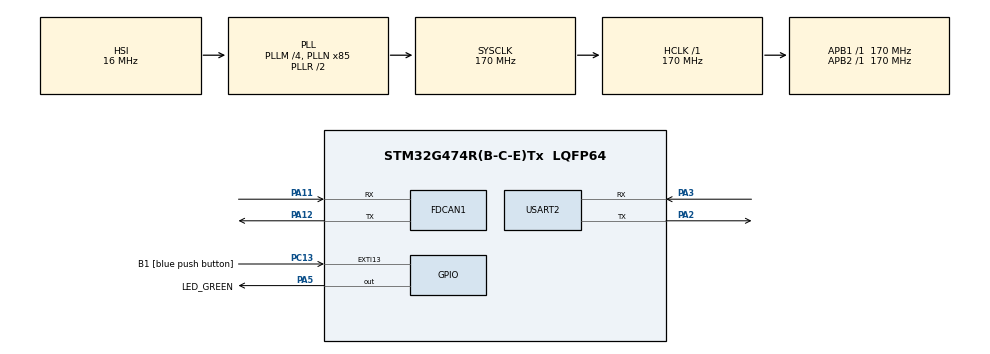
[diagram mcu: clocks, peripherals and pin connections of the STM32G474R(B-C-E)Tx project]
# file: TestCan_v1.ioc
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FDCAN1.CalculateBaudRateNominal=100117
FDCAN1.CalculateTimeBitNominal=9988
FDCAN1.CalculateTimeQuantumNominal=3329.4117647058824
FDCAN1.ClockDivider=FDCAN_CLOCK_DIV2
FDCAN1.Mode=FDCAN_MODE_EXTERNAL_LOOPBACK
FDCAN1.NominalPrescaler=283
FREERTOS.BinarySemaphores01=semCan,Dynamic,NULL,Available
FREERTOS.Mutexes01=mutexCan,Dynamic,NULL,Available
FREERTOS.Queues01=queueCan,16,CanMsg,0,Dynamic,NULL,NULL
FREERTOS.Tasks01=task0,24,256,startTask0,Default,NULL,Dynamic,NULL,NULL;task1,24,256,startTask1,Default,NULL,Dynamic,NULL,NULL
FREERTOS.configTOTAL_HEAP_SIZE=10048
Mcu.Family=STM32G4
Mcu.Name=STM32G474R(B-C-E)Tx
Mcu.Package=LQFP64
NVIC.EXTI15_10_IRQn=true\:7\:0\:true\:false\:true\:true\:true\:true\:true
NVIC.FDCAN1_IT0_IRQn=true\:5\:0\:false\:false\:true\:true\:true\:true\:true
NVIC.FDCAN1_IT1_IRQn=true\:6\:0\:true\:false\:true\:true\:true\:true\:true
NVIC.PriorityGroup=NVIC_PRIORITYGROUP_4
NVIC.TIM6_DAC_IRQn=true\:15\:0\:false\:false\:true\:false\:false\:true\:true
NVIC.TimeBase=TIM6_DAC_IRQn
NVIC.TimeBaseIP=TIM6
NVIC.USART2_IRQn=true\:6\:0\:true\:false\:true\:true\:true\:true\:true
PA11.Mode=FDCAN_Activate
PA11.Signal=FDCAN1_RX
PA12.Mode=FDCAN_Activate
PA12.Signal=FDCAN1_TX
PA13.GPIO_Label=T_SWDIO
PA13.Mode=Trace_Asynchronous_SW
PA13.Signal=SYS_JTMS-SWDIO
PA14.GPIO_Label=T_SWCLK
PA14.Mode=Trace_Asynchronous_SW
PA14.Signal=SYS_JTCK-SWCLK
PA2.Mode=Asynchronous
PA2.Signal=USART2_TX
PA3.Mode=Asynchronous
PA3.Signal=USART2_RX
PA5.GPIO_Label=LED_GREEN
PA5.Signal=GPIO_Output
PB3.GPIO_Label=T_SWO
PB3.Mode=Trace_Asynchronous_SW
PB3.Signal=SYS_JTDO-SWO
PC13.GPIO_Label=B1 [blue push button]
PC13.Signal=GPXTI13
PC14-OSC32_IN.GPIO_Label=RCC_OSC32_IN
PC14-OSC32_IN.Signal=RCC_OSC32_IN
PC15-OSC32_OUT.GPIO_Label=RCC_OSC32_OUT
PC15-OSC32_OUT.Signal=RCC_OSC32_OUT
PF0-OSC_IN.GPIO_Label=RCC_OSC_IN
PF0-OSC_IN.Signal=RCC_OSC_IN
PF1-OSC_OUT.GPIO_Label=RCC_OSC_OUT
PF1-OSC_OUT.Signal=RCC_OSC_OUT
ProjectManager.HeapSize=0x200
ProjectManager.StackSize=0x400
ProjectManager.TargetToolchain=STM32CubeIDE
RCC.ADC12Freq_Value=170000000
RCC.ADC345Freq_Value=170000000
RCC.AHBFreq_Value=170000000
RCC.APB1Freq_Value=170000000
RCC.APB1TimFreq_Value=170000000
RCC.APB2Freq_Value=170000000
RCC.APB2TimFreq_Value=170000000
RCC.CortexFreq_Value=170000000
RCC.EXTERNAL_CLOCK_VALUE=12288000
RCC.HCLKFreq_Value=170000000
RCC.HSE_VALUE=24000000
RCC.HSI48_VALUE=48000000
RCC.HSI_VALUE=16000000
RCC.LSE_VALUE=32768
RCC.PLLM=RCC_PLLM_DIV4
RCC.PLLN=85
RCC.RTCClockSelection=RCC_RTCCLKSOURCE_LSE
RCC.SYSCLKFreq_VALUE=170000000
RCC.SYSCLKSource=RCC_SYSCLKSOURCE_PLLCLK
RCC.USBFreq_Value=170000000
RCC.VCOOutputFreq_Value=340000000
USART2.VirtualMode-Asynchronous=VM_ASYNC
VP_FREERTOS_VS_CMSIS_V2.Mode=CMSIS_V2
VP_SYS_VS_DBSignals.Mode=DisableDeadBatterySignals
VP_SYS_VS_tim6.Mode=TIM6
board=NUCLEO-G474RE

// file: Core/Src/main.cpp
/* USER CODE BEGIN Header */
/**
 ******************************************************************************
 * @file           : main.c
 * @brief          : Main program body
 ******************************************************************************
 * @attention
 *
 * Copyright (c) 2025 STMicroelectronics.
 * All rights reserved.
 *
 * This software is licensed under terms that can be found in the LICENSE file
 * in the root directory of this software component.
 * If no LICENSE file comes with this software, it is provided AS-IS.
 *
 ******************************************************************************
 */
/* USER CODE END Header */
#include "main.h"
#include "cmsis_os.h"

/* USER CODE BEGIN Includes */

#include <stdio.h>

/* USER CODE END Includes */

FDCAN_HandleTypeDef hfdcan1;

UART_HandleTypeDef huart2;

/* Definitions for task0 */
osThreadId_t task0Handle;
const osThreadAttr_t task0_attributes =
{ .name = "task0", .stack_size = 256 * 4, .priority =
		(osPriority_t) osPriorityNormal };
/* Definitions for task1 */
osThreadId_t task1Handle;
const osThreadAttr_t task1_attributes =
{ .name = "task1", .stack_size = 256 * 4, .priority =
		(osPriority_t) osPriorityNormal };
/* Definitions for queueCan */
osMessageQueueId_t queueCanHandle;
const osMessageQueueAttr_t queueCan_attributes =
{ .name = "queueCan" };
/* Definitions for mutexCan */
osMutexId_t mutexCanHandle;
const osMutexAttr_t mutexCan_attributes =
{ .name = "mutexCan" };
/* Definitions for semCan */
osSemaphoreId_t semCanHandle;
const osSemaphoreAttr_t semCan_attributes =
{ .name = "semCan" };

void SystemClock_Config(void);
static void MX_GPIO_Init(void);
static void MX_FDCAN1_Init(void);
static void MX_USART2_UART_Init(void);
void startTask0(void *argument);
void startTask1(void *argument);

/* USER CODE BEGIN 0 */

extern "C" int _write(int file, char *data, int len)
{
	HAL_UART_Transmit(&huart2, (uint8_t*) data, len, 100);
	return len;
}

struct CanMsg
{
	FDCAN_RxHeaderTypeDef rxHeader;
	FDCAN_TxHeaderTypeDef txHeader;
	uint8_t data[8];
};

/* USER CODE END 0 */

int main(void)
{

	/* MCU Configuration--------------------------------------------------------*/

	/* Reset of all peripherals, Initializes the Flash interface and the Systick. */
	HAL_Init();

	/* Configure the system clock */
	SystemClock_Config();

	/* Initialize all configured peripherals */
	MX_GPIO_Init();
	MX_FDCAN1_Init();
	MX_USART2_UART_Init();
	/* USER CODE BEGIN 2 */

	if (HAL_FDCAN_Start(&hfdcan1) != HAL_OK)
	{
		printf("error\r\n");
	}

	if (HAL_FDCAN_ActivateNotification(&hfdcan1,
	FDCAN_IT_TX_COMPLETE | FDCAN_IT_RX_FIFO0_NEW_MESSAGE,
	FDCAN_TX_BUFFER0 | FDCAN_TX_BUFFER1 | FDCAN_TX_BUFFER2) != HAL_OK)
	{
		printf("error\r\n");
	}

	/* USER CODE END 2 */

	/* Init scheduler */
	osKernelInitialize();
	/* Create the mutex(es) */
	/* creation of mutexCan */
	mutexCanHandle = osMutexNew(&mutexCan_attributes);

	/* Create the semaphores(s) */
	/* creation of semCan */
	semCanHandle = osSemaphoreNew(1, 1, &semCan_attributes);

	/* Create the queue(s) */
	/* creation of queueCan */
	queueCanHandle = osMessageQueueNew(16, sizeof(CanMsg),
			&queueCan_attributes);

	/* Create the thread(s) */
	/* creation of task0 */
	task0Handle = osThreadNew(startTask0, NULL, &task0_attributes);

	/* creation of task1 */
	task1Handle = osThreadNew(startTask1, NULL, &task1_attributes);

	/* Start scheduler */
	osKernelStart();

	/* We should never get here as control is now taken by the scheduler */

	/* Infinite loop */
	while (1)
	{

	}
}

void SystemClock_Config(void)
{
	RCC_OscInitTypeDef RCC_OscInitStruct =
	{ 0 };
	RCC_ClkInitTypeDef RCC_ClkInitStruct =
	{ 0 };

	/** Configure the main internal regulator output voltage
	 */
	HAL_PWREx_ControlVoltageScaling(PWR_REGULATOR_VOLTAGE_SCALE1_BOOST);

	/** Initializes the RCC Oscillators according to the specified parameters
	 * in the RCC_OscInitTypeDef structure.
	 */
	RCC_OscInitStruct.OscillatorType = RCC_OSCILLATORTYPE_HSI;
	RCC_OscInitStruct.HSIState = RCC_HSI_ON;
	RCC_OscInitStruct.HSICalibrationValue = RCC_HSICALIBRATION_DEFAULT;
	RCC_OscInitStruct.PLL.PLLState = RCC_PLL_ON;
	RCC_OscInitStruct.PLL.PLLSource = RCC_PLLSOURCE_HSI;
	RCC_OscInitStruct.PLL.PLLM = RCC_PLLM_DIV4;
	RCC_OscInitStruct.PLL.PLLN = 85;
	RCC_OscInitStruct.PLL.PLLP = RCC_PLLP_DIV2;
	RCC_OscInitStruct.PLL.PLLQ = RCC_PLLQ_DIV2;
	RCC_OscInitStruct.PLL.PLLR = RCC_PLLR_DIV2;
	if (HAL_RCC_OscConfig(&RCC_OscInitStruct) != HAL_OK)
	{
		Error_Handler();
	}

	/** Initializes the CPU, AHB and APB buses clocks
	 */
	RCC_ClkInitStruct.ClockType = RCC_CLOCKTYPE_HCLK | RCC_CLOCKTYPE_SYSCLK
			| RCC_CLOCKTYPE_PCLK1 | RCC_CLOCKTYPE_PCLK2;
	RCC_ClkInitStruct.SYSCLKSource = RCC_SYSCLKSOURCE_PLLCLK;
	RCC_ClkInitStruct.AHBCLKDivider = RCC_SYSCLK_DIV1;
	RCC_ClkInitStruct.APB1CLKDivider = RCC_HCLK_DIV1;
	RCC_ClkInitStruct.APB2CLKDivider = RCC_HCLK_DIV1;

	if (HAL_RCC_ClockConfig(&RCC_ClkInitStruct, FLASH_LATENCY_4) != HAL_OK)
	{
		Error_Handler();
	}
}

static void MX_FDCAN1_Init(void)
{

	hfdcan1.Instance = FDCAN1;
	hfdcan1.Init.ClockDivider = FDCAN_CLOCK_DIV2;
	hfdcan1.Init.FrameFormat = FDCAN_FRAME_CLASSIC;
	hfdcan1.Init.Mode = FDCAN_MODE_EXTERNAL_LOOPBACK;
	hfdcan1.Init.AutoRetransmission = DISABLE;
	hfdcan1.Init.TransmitPause = DISABLE;
	hfdcan1.Init.ProtocolException = DISABLE;
	hfdcan1.Init.NominalPrescaler = 283;
	hfdcan1.Init.NominalSyncJumpWidth = 1;
	hfdcan1.Init.NominalTimeSeg1 = 1;
	hfdcan1.Init.NominalTimeSeg2 = 1;
	hfdcan1.Init.DataPrescaler = 1;
	hfdcan1.Init.DataSyncJumpWidth = 1;
	hfdcan1.Init.DataTimeSeg1 = 1;
	hfdcan1.Init.DataTimeSeg2 = 1;
	hfdcan1.Init.StdFiltersNbr = 0;
	hfdcan1.Init.ExtFiltersNbr = 0;
	hfdcan1.Init.TxFifoQueueMode = FDCAN_TX_FIFO_OPERATION;
	if (HAL_FDCAN_Init(&hfdcan1) != HAL_OK)
	{
		Error_Handler();
	}

}

static void MX_USART2_UART_Init(void)
{

	huart2.Instance = USART2;
	huart2.Init.BaudRate = 115200;
	huart2.Init.WordLength = UART_WORDLENGTH_8B;
	huart2.Init.StopBits = UART_STOPBITS_1;
	huart2.Init.Parity = UART_PARITY_NONE;
	huart2.Init.Mode = UART_MODE_TX_RX;
	huart2.Init.HwFlowCtl = UART_HWCONTROL_NONE;
	huart2.Init.OverSampling = UART_OVERSAMPLING_16;
	huart2.Init.OneBitSampling = UART_ONE_BIT_SAMPLE_DISABLE;
	huart2.Init.ClockPrescaler = UART_PRESCALER_DIV1;
	huart2.AdvancedInit.AdvFeatureInit = UART_ADVFEATURE_NO_INIT;
	if (HAL_UART_Init(&huart2) != HAL_OK)
	{
		Error_Handler();
	}
	if (HAL_UARTEx_SetTxFifoThreshold(&huart2, UART_TXFIFO_THRESHOLD_1_8)
			!= HAL_OK)
	{
		Error_Handler();
	}
	if (HAL_UARTEx_SetRxFifoThreshold(&huart2, UART_RXFIFO_THRESHOLD_1_8)
			!= HAL_OK)
	{
		Error_Handler();
	}
	if (HAL_UARTEx_DisableFifoMode(&huart2) != HAL_OK)
	{
		Error_Handler();
	}

}

static void MX_GPIO_Init(void)
{
	GPIO_InitTypeDef GPIO_InitStruct =
	{ 0 };

	/* GPIO Ports Clock Enable */
	__HAL_RCC_GPIOC_CLK_ENABLE();
	__HAL_RCC_GPIOF_CLK_ENABLE();
	__HAL_RCC_GPIOA_CLK_ENABLE();
	__HAL_RCC_GPIOB_CLK_ENABLE();

	/*Configure GPIO pin Output Level */
	HAL_GPIO_WritePin(LED_GREEN_GPIO_Port, LED_GREEN_Pin, GPIO_PIN_RESET);

	/*Configure GPIO pin : B1_Pin */
	GPIO_InitStruct.Pin = B1_Pin;
	GPIO_InitStruct.Mode = GPIO_MODE_IT_RISING;
	GPIO_InitStruct.Pull = GPIO_NOPULL;
	HAL_GPIO_Init(B1_GPIO_Port, &GPIO_InitStruct);

	/*Configure GPIO pin : LED_GREEN_Pin */
	GPIO_InitStruct.Pin = LED_GREEN_Pin;
	GPIO_InitStruct.Mode = GPIO_MODE_OUTPUT_PP;
	GPIO_InitStruct.Pull = GPIO_NOPULL;
	GPIO_InitStruct.Speed = GPIO_SPEED_FREQ_LOW;
	HAL_GPIO_Init(LED_GREEN_GPIO_Port, &GPIO_InitStruct);

	/* EXTI interrupt init*/
	HAL_NVIC_SetPriority(EXTI15_10_IRQn, 7, 0);
	HAL_NVIC_EnableIRQ(EXTI15_10_IRQn);

}

/* USER CODE BEGIN 4 */

void HAL_FDCAN_TxBufferCompleteCallback(FDCAN_HandleTypeDef *hfdcan,
		uint32_t BufferIndexes)
{
	if (hfdcan->Instance == hfdcan1.Instance)
	{
		osSemaphoreRelease(semCanHandle);
		printf("isr: tx\r\n");
	}
}

void HAL_FDCAN_RxFifo0Callback(FDCAN_HandleTypeDef *hfdcan, uint32_t RxFifoITs)
{
	if (hfdcan->Instance == hfdcan1.Instance)
	{
		if (RxFifoITs & FDCAN_IT_RX_FIFO0_NEW_MESSAGE)
		{
			CanMsg msg;
			HAL_FDCAN_GetRxMessage(&hfdcan1, FDCAN_RX_FIFO0, &msg.rxHeader, msg.data);
			osMessageQueuePut(queueCanHandle, &msg, 0, 0);
			printf("isr: rx\r\n");
		}
	}
}

void can_send()
{
	FDCAN_TxHeaderTypeDef txHeader;
	txHeader.Identifier = 0x006;
	txHeader.IdType = FDCAN_STANDARD_ID;
	txHeader.TxFrameType = FDCAN_DATA_FRAME;
	txHeader.DataLength = FDCAN_DLC_BYTES_8;
	txHeader.ErrorStateIndicator = FDCAN_ESI_ACTIVE;
	txHeader.BitRateSwitch = FDCAN_BRS_OFF;
	txHeader.FDFormat = FDCAN_CLASSIC_CAN;
	txHeader.TxEventFifoControl = FDCAN_NO_TX_EVENTS;
	txHeader.MessageMarker = 0;
	uint8_t txData[8] =
	{ 'C', 'A', 'N', ' ', 'm', 'e', 's', 'g' };

	osMutexAcquire(mutexCanHandle, osWaitForever);

	HAL_FDCAN_AddMessageToTxFifoQ(&hfdcan1, &txHeader, txData);

	osSemaphoreAcquire(semCanHandle, osWaitForever);

	osMutexRelease(mutexCanHandle);
}

/* USER CODE END 4 */

void startTask0(void *argument)
{
	/* USER CODE BEGIN 5 */
	printf("Can test v1\r\n");

	/* Infinite loop */
	for (;;)
	{
		osDelay(1e3);

		can_send();
	}
	/* USER CODE END 5 */
}

void startTask1(void *argument)
{
	/* USER CODE BEGIN startTask1 */
	/* Infinite loop */
	for (;;)
	{
		CanMsg msg;
		osMessageQueueGet(queueCanHandle, &msg, nullptr, osWaitForever);
		printf("got msg: %s\r\n", msg.data);
	}
	/* USER CODE END startTask1 */
}

void HAL_TIM_PeriodElapsedCallback(TIM_HandleTypeDef *htim)
{
	if (htim->Instance == TIM6)
	{
		HAL_IncTick();
	}
}

void Error_Handler(void)
{
	__disable_irq();
	while (1)
	{
	}
}
